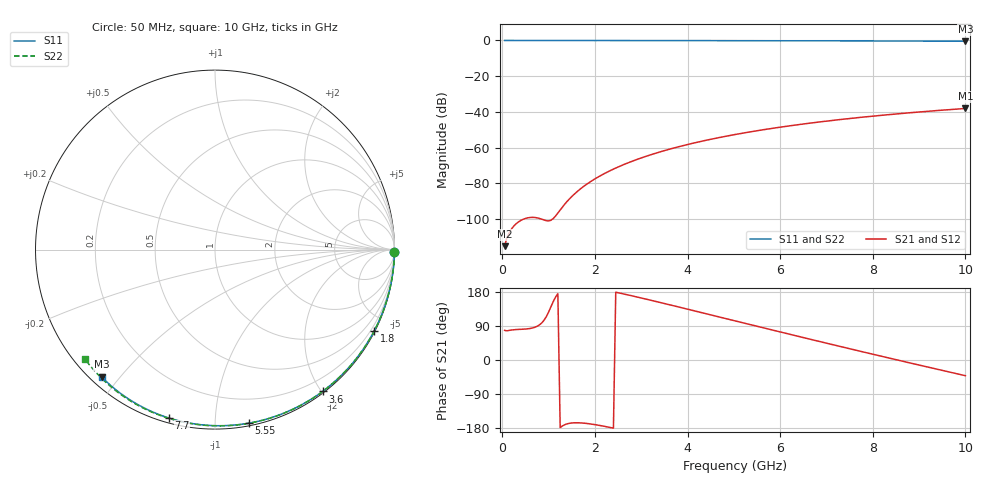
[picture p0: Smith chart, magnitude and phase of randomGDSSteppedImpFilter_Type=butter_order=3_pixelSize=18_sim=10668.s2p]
! freq	dB(S11)	phase(S11)	dB(S12)	phase(S12)
!  dB(S21)	phase(S21)	dB(S22)	phase(S22)
!S-par simulation data
#  GHz  S  DB  R 50
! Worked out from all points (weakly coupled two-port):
!   200 points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, 50 MHz to 10 GHz, reference 50 ohm
!   highest |S21| = -38.08 dB at 10 GHz (marker M1); lowest = -115.2 dB at 50 MHz (marker M2)
!   lowest |S11| = -0.4 dB at 10 GHz (marker M3), VSWR 38.73, Z = 1.55 - j22.4 ohm
!   |S11| at or under -10 dB: nowhere
!   |S22| runs from -0.5 to 0.0 dB; largest |S21 - S12| = 0
!   S11 on the Smith chart (normalised r, x): 50 MHz: open; 1.8 GHz: 0.04, -4.16; 3.6 GHz: 0.02, -2.01; 5.55 GHz: 0.02, -1.22; 7.7 GHz: 0.02, -0.76; 10 GHz: 0.03, -0.45
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0.05  -0.00 -0.8  -115.18 78.2  -115.18 78.2  -0.00 -0.8
0.45  -0.01 -6.9  -100.13 81.3  -100.13 81.3  -0.01 -7.3
0.9  -0.02 -13.6  -100.52 104.7  -100.52 104.7  -0.02 -14.5
1.75  -0.03 -26.3  -81.84 -166.5  -81.84 -166.5  -0.04 -28.0
1.8  -0.03 -27.0  -80.90 -167.1  -80.90 -167.1  -0.04 -28.8
1.85  -0.04 -27.7  -80.00 -167.8  -80.00 -167.8  -0.04 -29.5
2  -0.04 -29.9  -77.51 -170.5  -77.51 -170.5  -0.04 -31.9
2.15  -0.04 -32.1  -75.27 -173.8  -75.27 -173.8  -0.04 -34.2
2.35  -0.04 -35.0  -72.63 -178.6  -72.63 -178.6  -0.05 -37.3
2.55  -0.05 -37.9  -70.28 176.2  -70.28 176.2  -0.05 -40.4
2.95  -0.06 -43.7  -66.23 165.1  -66.23 165.1  -0.06 -46.4
3.4  -0.07 -50.0  -62.44 152.0  -62.44 152.0  -0.07 -53.2
3.6  -0.07 -52.8  -60.95 146.1  -60.95 146.1  -0.08 -56.1
4.3  -0.09 -62.4  -56.46 125.2  -56.46 125.2  -0.09 -66.3
5.05  -0.11 -72.4  -52.55 102.5  -52.55 102.5  -0.12 -76.8
5.55  -0.13 -78.9  -50.34 87.5  -50.34 87.5  -0.14 -83.7
6.1  -0.15 -85.8  -48.18 71.1  -48.18 71.1  -0.16 -91.0
6.7  -0.18 -93.3  -46.11 53.2  -46.11 53.2  -0.19 -98.9
7.7  -0.24 -105.3  -43.16 23.9  -43.16 23.9  -0.26 -111.6
8.35  -0.29 -112.9  -41.52 5.2  -41.52 5.2  -0.31 -119.7
9.2  -0.36 -122.7  -39.63 -19.0  -39.63 -19.0  -0.38 -130.1
10  -0.45 -131.7  -38.08 -41.4  -38.08 -41.4  -0.47 -139.8
